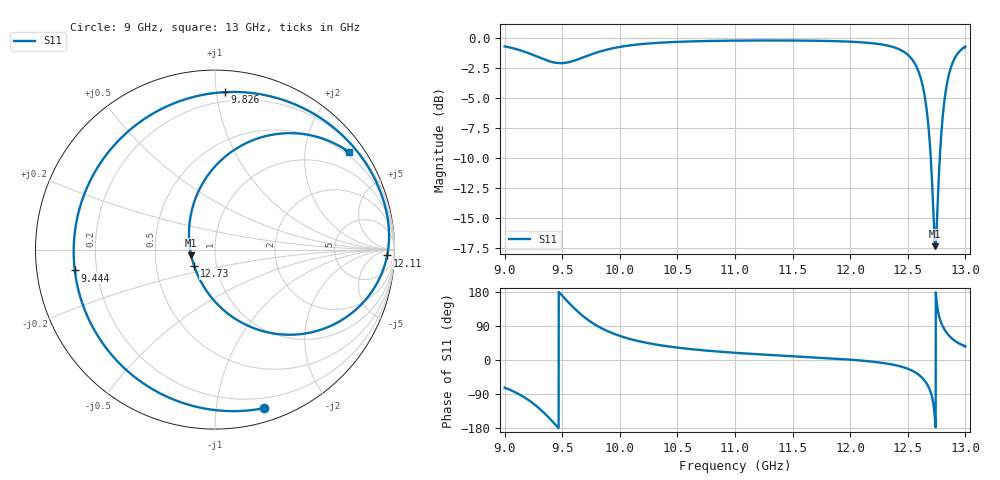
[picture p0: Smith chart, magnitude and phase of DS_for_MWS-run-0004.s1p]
! TOUCHSTONE file generated by CST DESIGN STUDIO
! Date and time: Tue Feb  4 18:43:51 2025
! Project name: C:\Work\MatlabApps\UnitCellOptimizationMatlab\CST\unitcell.cst
! Tree item: Tasks\Sweep1\SPara1\S-Parameters
! Header version: 2024
! Port assignment regex: !\s*Touchstone port\s*([0-9]+)\s*=\s*(CST MWS port|CST DES external port|CST DES block port)\s*(.+)\s* \(\"(.*)\"\)(\s*mode\s*([0-9]+))?.*
! Touchstone port assignment:
! Touchstone port 1 = CST DES external port 1 ("")
# GHz S MA R 50
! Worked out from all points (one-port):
!   4001 points, 9 GHz to 13 GHz, reference 50 ohm
!   lowest |S11| = -17.3 dB at 12.74 GHz (marker M1), VSWR 1.32, Z = 38.2 - j2.43 ohm
!   |S11| at or under -10 dB: 12.7 GHz to 12.78 GHz (77.78 MHz wide, 0.611 % of centre)
!   S11 on the Smith chart (normalised r, x): 9 GHz: 0.11, -1.35; 9.444 GHz: 0.12, -0.07; 9.826 GHz: 0.14, +1.06; 12.11 GHz: 29, -24; 12.73 GHz: 0.78, -0.14; 13 GHz: 0.42, +3.01
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9  0.9244 -73.0
9.138  0.8895 -92.6
9.244  0.8527 -113.7
9.339  0.8169 -138.5
9.444  0.7898 -171.5
9.5  0.7872 169.7
9.584  0.8004 142.6
9.658  0.8232 121.6
9.826  0.8793 86.3
10  0.9195 63.6
10.216  0.9473 46.3
10.5  0.9651 32.7
11  0.9766 19.0
11.5  0.9776 10.0
12  0.9667 0.8
12.111  0.9599 -1.9
12.355  0.9236 -11.4
12.5  0.8529 -23.1
12.582  0.749 -36.1
12.65  0.5606 -56.0
12.691  0.3653 -78.4
12.732  0.1474 -142.2
12.739  0.1362 -166.8
12.753  0.1717 147.7
12.78  0.3328 106.5
12.84  0.6459 70.8
12.916  0.8387 49.0
13  0.9219 36.2
